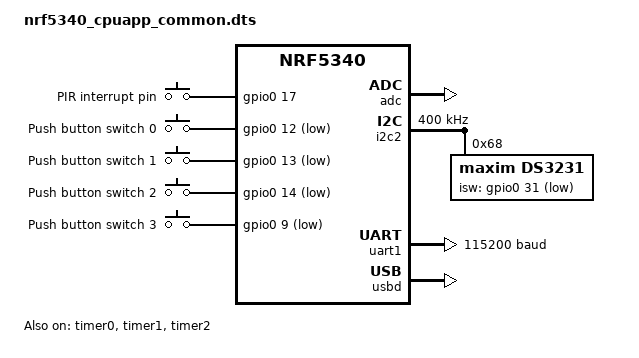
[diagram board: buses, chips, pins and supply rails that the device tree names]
#include "radar53_cpuapp_common-pinctrl.dtsi"

/ {

	chosen {
		zephyr,bt-hci-rpmsg-ipc = &ipc0;
		nordic,802154-spinel-ipc = &ipc0;
		// zephyr,ieee802154 = &ieee802154;
	};


	gpio_fwd: nrf-gpio-forwarder {
		compatible = "nordic,nrf-gpio-forwarder";
		status = "okay";
		uart {
			gpios = <&gpio1 1 0>, <&gpio1 0 0>, <&gpio0 11 0>, <&gpio0 10 0>;
		};
	};

	button {
		compatible = "gpio-keys";
		resetbut: resetbut {
			gpios = <&gpio0 17 GPIO_ACTIVE_HIGH>;
			label = "PIR interrupt pin";
		};
	};

	buttons {
		compatible = "gpio-keys";
		button0: button_0 { 
			gpios = <&gpio0 12 (GPIO_PULL_UP | GPIO_ACTIVE_LOW)>;
			label = "Push button switch 0";
		};
		button1: button_1 {
			gpios = <&gpio0 13 (GPIO_PULL_UP | GPIO_ACTIVE_LOW)>;
			label = "Push button switch 1";
		};
		button2: button_2 {
			gpios = <&gpio0 14 (GPIO_PULL_UP | GPIO_ACTIVE_LOW)>;
			label = "Push button switch 2";
		};
		button3: button_3 {
			gpios = <&gpio0 9 (GPIO_PULL_UP | GPIO_ACTIVE_LOW)>;
			label = "Push button switch 3";
		};
	};

	aliases {
		resetmodem = &resetbut;
		sw0 = &button0;
		sw1 = &button1;
		sw2 = &button2;
		sw3 = &button3;
		watchdog0 = &wdt0;
	};


};

&adc {
	status = "okay";
};

&gpiote {
	status = "okay";
};

&gpio0 {
	status = "okay";
};

&gpio1 {
	status = "okay";
};

&timer0 {
	status = "okay";
};

&timer1 {
	status = "okay";
};

&timer2 {
	status = "okay";
};

&i2c2 {
	compatible = "nordic,nrf-twim";
	status = "okay";
	pinctrl-0 = <&i2c0_default>;
	pinctrl-1 = <&i2c0_sleep>;
	clock-frequency = <400000>;
	pinctrl-names = "default", "sleep";
	ds3231: ds3231@68 {
		status = "okay";
		compatible = "maxim,ds3231";
		reg = <0x68>;
		isw-gpios = <&gpio0 31 (GPIO_PULL_UP | GPIO_ACTIVE_LOW)>;
	};
};
// &uart0 {
// 	status = "okay";
// 	current-speed = <115200>;
// 	parity = "none";
// 	pinctrl-0 = <&uart1_default>;
// 	pinctrl-1 = <&uart1_sleep>;
// 	pinctrl-names = "default", "sleep";
// 	gsm: gsm-modem {
// 		compatible = "zephyr,gsm-ppp";
// 	};
// };

&uart1 {
	status = "okay";
	current-speed = <115200>;
	parity = "none";
	pinctrl-0 = <&uart1_default>;
	pinctrl-1 = <&uart1_sleep>;
	pinctrl-names = "default", "sleep";

};

&flash0 {

	partitions {
		compatible = "fixed-partitions";
		#address-cells = <1>;
		#size-cells = <1>;

		boot_partition: partition@0 {
			label = "mcuboot";
			reg = <0x00000000 0x00010000>;
		};
		slot0_partition: partition@10000 {
			label = "image-0";
		};
		// slot0_ns_partition: partition@50000 {
		// 	label = "image-0-nonsecure";
		// };
		// slot1_partition: partition@80000 {
		// 	label = "image-1";
		// };
		// slot1_ns_partition: partition@c0000 {
		// 	label = "image-1-nonsecure";
		// };
		/* 0xf0000 to 0xf7fff reserved for TF-M partitions */
		storage_partition: partition@f8000 {
			label = "storage";
			reg = <0x000f8000 0x00008000>;
		};
	};
};

// &ieee802154 {
// 	status = "okay";
// };

zephyr_udc0: &usbd {
	compatible = "nordic,nrf-usbd";
	status = "okay";
};

/ {

	reserved-memory {
		#address-cells = <1>;
		#size-cells = <1>;
		ranges;

		sram0_image: image@20000000 {
			/* Zephyr image(s) memory */
		};

		sram0_s: image_s@20000000 {
			/* Secure image memory */
		};

		// sram0_ns: image_ns@20040000 {
		// 	/* Non-Secure image memory */
		// };
	};
};

/* Include partition configuration file */
#include "nrf5340_cpuapp_partition_conf.dts"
